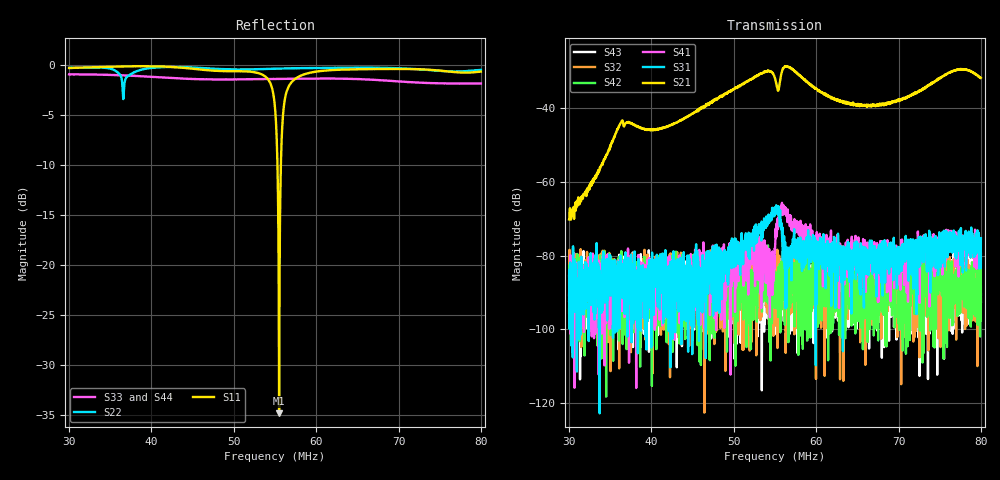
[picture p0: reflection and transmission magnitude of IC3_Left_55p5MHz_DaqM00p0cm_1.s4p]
#  HZ  S  DB  R  50.00
! Rohde & Schwarz Vector Network Analyzer
! Rohde-Schwarz,ZNB8-4Port,1311601044102961,2.82
! Created: UTC 2/12/2019, 4:54:14 PM
! freq[Hz]  db:S11  ang:S11  db:S12  ang:S12  db:S13  ang:S13  db:S14  ang:S14
!  db:S21  ang:S21  db:S22  ang:S22  db:S23  ang:S23  db:S24  ang:S24
!  db:S31  ang:S31  db:S32  ang:S32  db:S33  ang:S33  db:S34  ang:S34
!  db:S41  ang:S41  db:S42  ang:S42  db:S43  ang:S43  db:S44  ang:S44
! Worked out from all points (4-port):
!   2001 points, 30 MHz to 80 MHz, reference 50 ohm
!   strongest paths, dB at 30 MHz, 42.5 MHz, 55 MHz, 67.5 MHz, 80 MHz:
!     S21: -70.2, -44.5, -31.9, -39.2, -31.8
!     S31: -92.3, -86.1, -66.9, -80.1, -75.2
!     S41: -90.8, -85.3, -78.4, -92.4, -79.4
!     S42: -95.5, -101.2, -84.6, -86.9, -90.6
!     S32: -86.6, -92.5, -85.3, -83.7, -80.4
!     S43: -85.5, -87.1, -84.8, -98.2, -92.5
!   lowest |S11| = -34.8 dB at 55.5 MHz (marker M1), VSWR 1.04, Z = 50.8 + j1.65 ohm
!   |S11| at or under -10 dB: 55.3 MHz to 55.71 MHz (417 kHz wide, 0.751 % of centre)
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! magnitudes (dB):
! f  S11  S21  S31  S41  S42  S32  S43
! 30 MHz  -0.3  -70.2  -92.3  -90.8  -95.5  -86.6  -85.5
! 36.3 MHz  -0.2  -43.8  -89.4  -90.1  -90.2  -85.6  -91.0
! 53.95 MHz  -1.2  -30.0  -69.4  -77.3  -87.5  -91.4  -93.5
! 55.5 MHz  -34.8  -34.3  -68.5  -67.9  -85.3  -80.0  -80.8
! 57.45 MHz  -1.4  -30.1  -75.7  -73.3  -94.8  -83.4  -92.5
! 65.9 MHz  -0.4  -39.2  -80.8  -75.8  -83.6  -84.4  -84.5
! 80 MHz  -0.7  -31.8  -75.2  -79.4  -90.6  -80.4  -92.5
